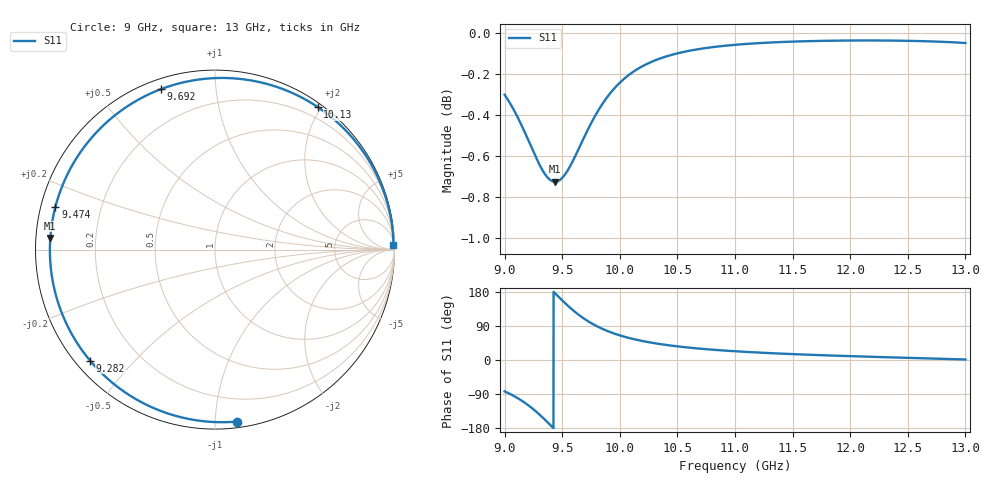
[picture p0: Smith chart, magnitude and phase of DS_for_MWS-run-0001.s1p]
! TOUCHSTONE file generated by CST DESIGN STUDIO
! Date and time: Tue Feb  4 13:32:27 2025
! Project name: C:\Work\MatlabApps\UnitCellOptimizationMatlab\CST\unitcell.cst
! Tree item: Tasks\Sweep1\SPara1\S-Parameters
! Header version: 2024
! Port assignment regex: !\s*Touchstone port\s*([0-9]+)\s*=\s*(CST MWS port|CST DES external port|CST DES block port)\s*(.+)\s* \(\"(.*)\"\)(\s*mode\s*([0-9]+))?.*
! Touchstone port assignment:
! Touchstone port 1 = CST DES external port 1 ("")
# GHz S MA R 50
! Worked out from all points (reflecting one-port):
!   4001 points, 9 GHz to 13 GHz, reference 50 ohm
!   lowest |S11| = -0.7 dB at 9.438 GHz (marker M1), VSWR 23.97, Z = 2.09 + j1.76 ohm
!   phase of S11 starts at -83 deg and turns -276 deg over the sweep
!   S11 on the Smith chart (normalised r, x): 9 GHz: 0.04, -1.13; 9.282 GHz: 0.04, -0.38; 9.474 GHz: 0.04, +0.13; 9.692 GHz: 0.04, +0.72; 10.13 GHz: 0.05, +1.95; 13 GHz: 20, +81
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9  0.9658 -82.8
9.085  0.9571 -95.7
9.156  0.9483 -108.8
9.22  0.9396 -122.8
9.282  0.9313 -138.4
9.326  0.9262 -150.5
9.365  0.9227 -161.9
9.402  0.9206 -173.1
9.438  0.9199 176.0
9.474  0.9206 165.0
9.5  0.9219 157.3
9.549  0.9259 143.2
9.596  0.9311 130.7
9.643  0.937 119.3
9.692  0.9433 108.7
9.762  0.9518 95.5
9.844  0.9604 82.8
9.92  0.9669 73.3
10  0.9723 65.0
10.133  0.979 54.2
10.298  0.9844 44.5
10.5  0.9884 36.0
10.723  0.9912 29.2
11  0.9932 23.1
11.5  0.995 15.5
12  0.9956 10.2
12.5  0.9954 5.7
13  0.9942 1.3
